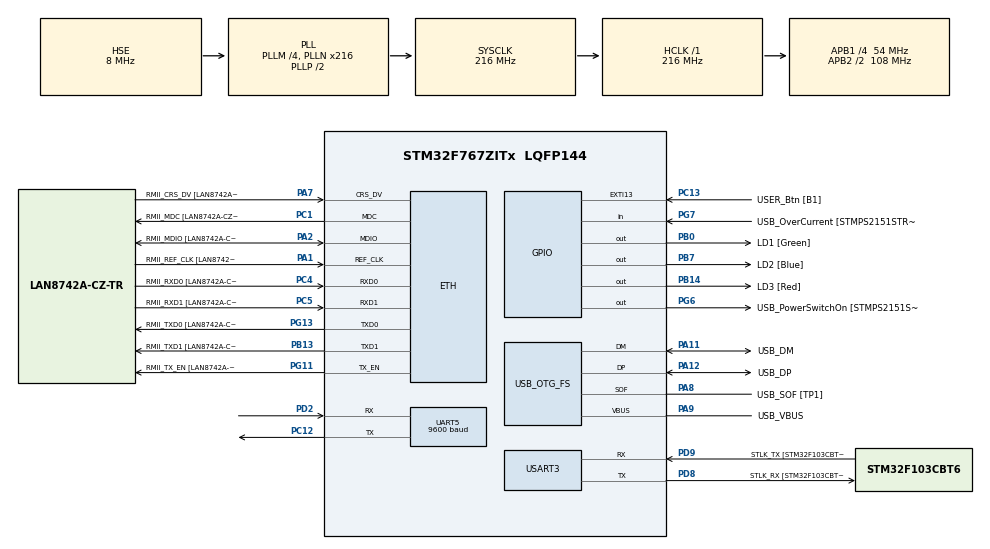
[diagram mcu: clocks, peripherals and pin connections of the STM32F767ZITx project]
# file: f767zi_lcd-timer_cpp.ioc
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CORTEX_M7.default_mode_Activation=1
ETH.MediaInterface=HAL_ETH_RMII_MODE
ETH.PHY_Name=LAN8742A_PHY_ADDRESS
ETH.PHY_Value=0
ETH.PhyAddress=0
FREERTOS.Tasks01=defaultTask,24,256,StartDefaultTask,Default,NULL,Dynamic,NULL,NULL;LCDTimerTask,24,500,StartLCDTimerTask,Default,NULL,Dynamic,NULL,NULL
Mcu.Family=STM32F7
Mcu.Name=STM32F767ZITx
Mcu.Package=LQFP144
NVIC.PriorityGroup=NVIC_PRIORITYGROUP_4
NVIC.TIM7_IRQn=true\:15\:0\:false\:false\:true\:false\:false\:true\:true
NVIC.TimeBase=TIM7_IRQn
NVIC.TimeBaseIP=TIM7
PA1.GPIO_Label=RMII_REF_CLK [LAN8742A-CZ-TR_REFCLK0]
PA1.Mode=RMII
PA1.Signal=ETH_REF_CLK
PA10.GPIO_Label=USB_ID
PA10.Signal=USB_OTG_FS_ID
PA11.GPIO_Label=USB_DM
PA11.Mode=Device_Only
PA11.Signal=USB_OTG_FS_DM
PA12.GPIO_Label=USB_DP
PA12.Mode=Device_Only
PA12.Signal=USB_OTG_FS_DP
PA13.GPIO_Label=TMS
PA13.Mode=Serial_Wire
PA13.Signal=SYS_JTMS-SWDIO
PA14.GPIO_Label=TCK
PA14.Mode=Serial_Wire
PA14.Signal=SYS_JTCK-SWCLK
PA2.GPIO_Label=RMII_MDIO [LAN8742A-CZ-TR_MDIO]
PA2.Mode=RMII
PA2.Signal=ETH_MDIO
PA7.GPIO_Label=RMII_CRS_DV [LAN8742A-CZ-TR_CRS_DV]
PA7.Mode=RMII
PA7.Signal=ETH_CRS_DV
PA8.GPIO_Label=USB_SOF [TP1]
PA8.Mode=Activate_SOF_FS
PA8.Signal=USB_OTG_FS_SOF
PA9.GPIO_Label=USB_VBUS
PA9.Mode=Activate_VBUS
PA9.Signal=USB_OTG_FS_VBUS
PB0.GPIO_Label=LD1 [Green]
PB0.Signal=GPIO_Output
PB13.GPIO_Label=RMII_TXD1 [LAN8742A-CZ-TR_TXD1]
PB13.Mode=RMII
PB13.Signal=ETH_TXD1
PB14.GPIO_Label=LD3 [Red]
PB14.Signal=GPIO_Output
PB3.GPIO_Label=SWO
PB3.Signal=SYS_JTDO-SWO
PB7.GPIO_Label=LD2 [Blue]
PB7.Signal=GPIO_Output
PC1.GPIO_Label=RMII_MDC [LAN8742A-CZ-TR_MDC]
PC1.Mode=RMII
PC1.Signal=ETH_MDC
PC12.GPIO_ModeDefaultPP=GPIO_MODE_AF_OD
PC12.GPIO_Speed=GPIO_SPEED_FREQ_VERY_HIGH
PC12.Mode=Asynchronous
PC12.Signal=UART5_TX
PC13.GPIO_Label=USER_Btn [B1]
PC13.Signal=GPXTI13
PC14/OSC32_IN.Mode=LSE-External-Oscillator
PC14/OSC32_IN.Signal=RCC_OSC32_IN
PC15/OSC32_OUT.Mode=LSE-External-Oscillator
PC15/OSC32_OUT.Signal=RCC_OSC32_OUT
PC4.GPIO_Label=RMII_RXD0 [LAN8742A-CZ-TR_RXD0]
PC4.Mode=RMII
PC4.Signal=ETH_RXD0
PC5.GPIO_Label=RMII_RXD1 [LAN8742A-CZ-TR_RXD1]
PC5.Mode=RMII
PC5.Signal=ETH_RXD1
PD2.GPIO_Speed=GPIO_SPEED_FREQ_VERY_HIGH
PD2.Mode=Asynchronous
PD2.Signal=UART5_RX
PD8.GPIO_Label=STLK_RX [STM32F103CBT6_PA3]
PD8.Mode=Asynchronous
PD8.Signal=USART3_TX
PD9.GPIO_Label=STLK_TX [STM32F103CBT6_PA2]
PD9.Mode=Asynchronous
PD9.Signal=USART3_RX
PG11.GPIO_Label=RMII_TX_EN [LAN8742A-CZ-TR_TXEN]
PG11.Mode=RMII
PG11.Signal=ETH_TX_EN
PG13.GPIO_Label=RMII_TXD0 [LAN8742A-CZ-TR_TXD0]
PG13.Mode=RMII
PG13.Signal=ETH_TXD0
PG6.GPIO_Label=USB_PowerSwitchOn [STMPS2151STR_EN]
PG6.Signal=GPIO_Output
PG7.GPIO_Label=USB_OverCurrent [STMPS2151STR_FAULT]
PG7.Signal=GPIO_Input
PH0/OSC_IN.GPIO_Label=MCO [STM32F103CBT6_PA8]
PH0/OSC_IN.Mode=HSE-External-Clock-Source
PH0/OSC_IN.Signal=RCC_OSC_IN
PH1/OSC_OUT.Mode=HSE-External-Clock-Source
PH1/OSC_OUT.Signal=RCC_OSC_OUT
ProjectManager.HeapSize=0x200
ProjectManager.StackSize=0x400
ProjectManager.TargetToolchain=CMake
RCC.48MHZClocksFreq_Value=24000000
RCC.AHBFreq_Value=216000000
RCC.APB1CLKDivider=RCC_HCLK_DIV4
RCC.APB1Freq_Value=54000000
RCC.APB1TimFreq_Value=108000000
RCC.APB2CLKDivider=RCC_HCLK_DIV2
RCC.APB2Freq_Value=108000000
RCC.APB2TimFreq_Value=216000000
RCC.CortexFreq_Value=216000000
RCC.HCLKFreq_Value=216000000
RCC.HSE_VALUE=8000000
RCC.HSI_VALUE=16000000
RCC.PLLM=4
RCC.PLLMUL=RCC_PLL_MUL9
RCC.PLLN=216
RCC.PLLQ=9
RCC.PRESCALERUSB=RCC_USBCLKSOURCE_PLL_DIV1_5
RCC.SYSCLKFreq_VALUE=216000000
RCC.SYSCLKSource=RCC_SYSCLKSOURCE_PLLCLK
RCC.SYSCLKSourceVirtual=RCC_SYSCLKSOURCE_PLLCLK
RCC.USBFreq_Value=48000000
RCC.VCOOutputFreq_Value=432000000
UART5.BaudRate=9600
USART3.VirtualMode-Asynchronous=VM_ASYNC
USB_OTG_FS.VirtualMode=Device_Only
VP_FREERTOS_VS_CMSIS_V2.Mode=CMSIS_V2
VP_SYS_VS_tim7.Mode=TIM7
board=NUCLEO-F767ZI

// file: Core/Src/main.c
/* USER CODE BEGIN Header */
/**
  ******************************************************************************
  * @file           : main.c
  * @brief          : Main program body
  ******************************************************************************
  * @attention
  *
  * Copyright (c) 2026 STMicroelectronics.
  * All rights reserved.
  *
  * This software is licensed under terms that can be found in the LICENSE file
  * in the root directory of this software component.
  * If no LICENSE file comes with this software, it is provided AS-IS.
  *
  ******************************************************************************
  */
/* USER CODE END Header */
#include "main.h"
#include "cmsis_os.h"
#include "eth.h"
#include "usart.h"
#include "usb_otg.h"
#include "gpio.h"

void SystemClock_Config(void);
static void MPU_Config(void);
void MX_FREERTOS_Init(void);

int main(void)
{

  /* MPU Configuration--------------------------------------------------------*/
  MPU_Config();

  /* MCU Configuration--------------------------------------------------------*/

  /* Reset of all peripherals, Initializes the Flash interface and the Systick. */
  HAL_Init();

  /* Configure the system clock */
  SystemClock_Config();

  /* Initialize all configured peripherals */
  MX_GPIO_Init();
  MX_ETH_Init();
  MX_UART5_Init();
  MX_USART3_UART_Init();
  MX_USB_OTG_FS_PCD_Init();

  /* Init scheduler */
  osKernelInitialize();  /* Call init function for freertos objects (in cmsis_os2.c) */
  MX_FREERTOS_Init();

  /* Start scheduler */
  osKernelStart();

  /* We should never get here as control is now taken by the scheduler */

  /* Infinite loop */
  while (1)
  {

  }
}

void SystemClock_Config(void)
{
  RCC_OscInitTypeDef RCC_OscInitStruct = {0};
  RCC_ClkInitTypeDef RCC_ClkInitStruct = {0};

  /** Configure LSE Drive Capability
  */
  HAL_PWR_EnableBkUpAccess();

  /** Configure the main internal regulator output voltage
  */
  __HAL_RCC_PWR_CLK_ENABLE();
  __HAL_PWR_VOLTAGESCALING_CONFIG(PWR_REGULATOR_VOLTAGE_SCALE1);

  /** Initializes the RCC Oscillators according to the specified parameters
  * in the RCC_OscInitTypeDef structure.
  */
  RCC_OscInitStruct.OscillatorType = RCC_OSCILLATORTYPE_HSE;
  RCC_OscInitStruct.HSEState = RCC_HSE_BYPASS;
  RCC_OscInitStruct.PLL.PLLState = RCC_PLL_ON;
  RCC_OscInitStruct.PLL.PLLSource = RCC_PLLSOURCE_HSE;
  RCC_OscInitStruct.PLL.PLLM = 4;
  RCC_OscInitStruct.PLL.PLLN = 216;
  RCC_OscInitStruct.PLL.PLLP = RCC_PLLP_DIV2;
  RCC_OscInitStruct.PLL.PLLQ = 9;
  RCC_OscInitStruct.PLL.PLLR = 2;
  if (HAL_RCC_OscConfig(&RCC_OscInitStruct) != HAL_OK)
  {
    Error_Handler();
  }

  /** Activate the Over-Drive mode
  */
  if (HAL_PWREx_EnableOverDrive() != HAL_OK)
  {
    Error_Handler();
  }

  /** Initializes the CPU, AHB and APB buses clocks
  */
  RCC_ClkInitStruct.ClockType = RCC_CLOCKTYPE_HCLK|RCC_CLOCKTYPE_SYSCLK
                              |RCC_CLOCKTYPE_PCLK1|RCC_CLOCKTYPE_PCLK2;
  RCC_ClkInitStruct.SYSCLKSource = RCC_SYSCLKSOURCE_PLLCLK;
  RCC_ClkInitStruct.AHBCLKDivider = RCC_SYSCLK_DIV1;
  RCC_ClkInitStruct.APB1CLKDivider = RCC_HCLK_DIV4;
  RCC_ClkInitStruct.APB2CLKDivider = RCC_HCLK_DIV2;

  if (HAL_RCC_ClockConfig(&RCC_ClkInitStruct, FLASH_LATENCY_7) != HAL_OK)
  {
    Error_Handler();
  }
}

 /* MPU Configuration */

void MPU_Config(void)
{
  MPU_Region_InitTypeDef MPU_InitStruct = {0};

  /* Disables the MPU */
  HAL_MPU_Disable();

  /** Initializes and configures the Region and the memory to be protected
  */
  MPU_InitStruct.Enable = MPU_REGION_ENABLE;
  MPU_InitStruct.Number = MPU_REGION_NUMBER0;
  MPU_InitStruct.BaseAddress = 0x0;
  MPU_InitStruct.Size = MPU_REGION_SIZE_4GB;
  MPU_InitStruct.SubRegionDisable = 0x87;
  MPU_InitStruct.TypeExtField = MPU_TEX_LEVEL0;
  MPU_InitStruct.AccessPermission = MPU_REGION_NO_ACCESS;
  MPU_InitStruct.DisableExec = MPU_INSTRUCTION_ACCESS_DISABLE;
  MPU_InitStruct.IsShareable = MPU_ACCESS_SHAREABLE;
  MPU_InitStruct.IsCacheable = MPU_ACCESS_NOT_CACHEABLE;
  MPU_InitStruct.IsBufferable = MPU_ACCESS_NOT_BUFFERABLE;

  HAL_MPU_ConfigRegion(&MPU_InitStruct);
  /* Enables the MPU */
  HAL_MPU_Enable(MPU_PRIVILEGED_DEFAULT);

}

void HAL_TIM_PeriodElapsedCallback(TIM_HandleTypeDef *htim)
{
  if (htim->Instance == TIM7)
  {
    HAL_IncTick();
  }
}

void Error_Handler(void)
{
  __disable_irq();
  while (1)
  {
  }
}

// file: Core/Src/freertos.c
/* USER CODE BEGIN Header */
/**
  ******************************************************************************
  * File Name          : freertos.c
  * Description        : Code for freertos applications
  ******************************************************************************
  * @attention
  *
  * Copyright (c) 2026 STMicroelectronics.
  * All rights reserved.
  *
  * This software is licensed under terms that can be found in the LICENSE file
  * in the root directory of this software component.
  * If no LICENSE file comes with this software, it is provided AS-IS.
  *
  ******************************************************************************
  */
/* USER CODE END Header */

#include "FreeRTOS.h"
#include "task.h"
#include "main.h"
#include "cmsis_os.h"

/* USER CODE BEGIN Includes */
#include "lcd-timer.h"
/* USER CODE END Includes */

/* Definitions for defaultTask */
osThreadId_t defaultTaskHandle;
const osThreadAttr_t defaultTask_attributes = {
  .name = "defaultTask",
  .stack_size = 256 * 4,
  .priority = (osPriority_t) osPriorityNormal,
};
/* Definitions for LCDTimerTask */
osThreadId_t LCDTimerTaskHandle;
const osThreadAttr_t LCDTimerTask_attributes = {
  .name = "LCDTimerTask",
  .stack_size = 500 * 4,
  .priority = (osPriority_t) osPriorityNormal,
};

/* USER CODE BEGIN FunctionPrototypes */
/* テスト用: 1秒ごとに180からカウントダウンしてQueueに送るタスク */
static void DummyTimerSenderTask(void *argument)
{
  (void)argument;
  int32_t seconds = 180;

  for (;;)
  {
    /* Queueへ現在の秒数を送信（最新値で上書き） */
    LcdTimer_Submit(seconds);

    /* 1秒（1000ミリ秒）待機 */
    osDelay(1000);

    /* 0秒まで減らし、0秒になったら180秒にリセットしてループ */
    if (seconds > 0) {
      seconds--;
    } else {
      seconds = 180; // テスト用に繰り返す場合
    }
  }
}
/* USER CODE END FunctionPrototypes */

void StartDefaultTask(void *argument);
void StartLCDTimerTask(void *argument);

void MX_FREERTOS_Init(void); /* (MISRA C 2004 rule 8.1) */

void MX_FREERTOS_Init(void) {
  /* USER CODE BEGIN Init */
  LcdTimer_Init();
  /* USER CODE END Init */

  /* Create the thread(s) */
  /* creation of defaultTask */
  defaultTaskHandle = osThreadNew(StartDefaultTask, NULL, &defaultTask_attributes);

  /* creation of LCDTimerTask */
  LCDTimerTaskHandle = osThreadNew(StartLCDTimerTask, NULL, &LCDTimerTask_attributes);

  /* USER CODE BEGIN RTOS_THREADS */
  /* add threads, ... */
  const osThreadAttr_t dummyTask_attributes = {
    .name = "DummyTimer",
    .stack_size = 256 * 4,
    .priority = (osPriority_t) osPriorityNormal,
  };
  osThreadNew(DummyTimerSenderTask, NULL, &dummyTask_attributes);
  /* USER CODE END RTOS_THREADS */

}

void StartDefaultTask(void *argument)
{
  for(;;)
  {
    osDelay(1);
  }
}

void StartLCDTimerTask(void *argument)
{
  /* USER CODE BEGIN StartLCDTimerTask */
  /* LCDタスク本体を起動 */
  StartLcdTimerTask(argument);
  /* USER CODE END StartLCDTimerTask */
}
